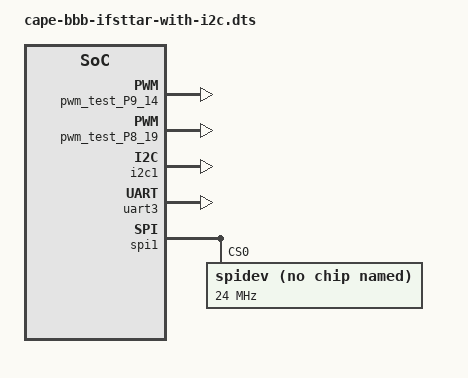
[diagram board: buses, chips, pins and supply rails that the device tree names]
/*  
 * Copyright (C) 2012 Texas Instruments Incorporated - http://www.ti.com/
 *
 * This program is free software; you can redistribute it and/or modify
 * it under the terms of the GNU General Purpose License Version 2 as
 * published by the Free Software Foundation
 *
 * Original from: github.com/jadonk/validation-scripts/blob/master/test-capemgr/ 
 *
 * Modified by FSCOM for IFSTTAR ITS project
 */

/dts-v1/;
/plugin/; /* Allow undefined label references and record them */

/{
    /* Compatible with both the original and the beaglebone black */    
    compatible = "ti,beaglebone", "ti,beaglebone-black";

    /* Identification of the cape */
    part-number = "cape-bbb-ifsttar";
    version = "00A0";

    /* State the resources this cape uses */
    exclusive-use =
        /* RTC MFP output */
        "P8.7",              /* MFP */
        /* Temp. Sensor alert */
        "P8.8",              /* TEMP_ALERT_INT */
        /* Gyro int. outputs */
        "P8.9",              /* GYRO_INT1 */
        "P8.10",             /* GYRO_INT2 */
        /* GPS outputs */
        "P8.11",             /* GPS_OUTPUT */
        /* The pin headers used for LEDs */
        "P8.12",             /* Green led */
        "P8.13",             /* Red led */
        /* Acc. int. outputs */
        "P8.14",             /* ADXL345_INT1 */
        "P8.15",             /* ADXL345_INT2 */
        /* LCD */
        "P8.16",             /* LCD_EN */
        "P8.17",             /* LCD_RW */
        "P8.18",             /* LCD_RS */
        /* The pin headers used for I2C#1 mapped into /dev/i2c2 - See /sys/bus/i2c/devices/i2c-* and check with physical address */
        "P9.19",             /* i2c1_scl */
        "P9.10",             /* i2c1_sda */
        "i2c1",              /* the hardware ip uses */
        /* The pin headers used for SPI Chip Select */
        "P9.17",             /* cs_can */
        "P9.18",             /* cs_adc */
        /* The pin headers used for UART2 */
        "P9.21",             /* uart2_txd */
        "P9.22",             /* uart2_rxd */
        "uart2",             /* the hardware ip uses */
        /* The pin header uses for PWM#1A */
        "P9.14",            /* pwm: ehrpwm1A */
        "ehrpwm1A",         /* the hardware IP uses */
        /* The pin header uses for PWM#2A */
        "P8.19",            /* pwm: ehrpwm2A */
        "ehrpwm2A",         /* the hardware IP uses */
        /* The pin headers used for SPI */
        "P9.29",            /* spi1_miso */
        "P9.30",            /* spi1_mosi */
        "P9.31",            /* spi1_sck */
        "spi1";             /* the hardware ip uses */
                    
    fragment@0 {
        target = <&am33xx_pinmux>;    
        __overlay__ {
            bbb_gpios_pins: pinmux_bbb_gpios_pins {
            pinctrl-single,pins = <
                    0x090 0x0F  /* P8_7  36 66 INPUT - NO PULL UP/DOWN - MODE7 - The RTC MFP */
                    0x094 0x0F  /* P8_8  37 67 INPUT - NO PULL UP/DOWN - MODE7 - The TEMP_ALERT */
                    0x09C 0x0F  /* P8_9  39 69 INPUT - NO PULL UP/DOWN - MODE7 - The GYRO_INT1 */
                    0x098 0x0F  /* P8_10 30 68 INPUT - NO PULL UP/DOWN - MODE7 - The GYRO_INT2 */
                    0x034 0x0F  /* P8_11 13 45 INPUT - NO PULL UP/DOWN - MODE7 - The GPS_OUTPUT */
                    0x030 0x0F  /* P8_12 12 44 OUTPUT - NO PULL UP/DOWN - MODE7 - The green led */
                    0x024 0x0F  /* P8_13 09 23 OUTPUT - NO PULL UP/DOWN - MODE7 - The green led */
                    0x028 0x07  /* P8_14 10 16 INPUT - PULL UP - MODE7 - The ADXL345_INT1 */
                    0x03C 0x07  /* P8_15 15 47 INPUT - PULL UP - MODE7 - The ADXL345_INT2 */
                    0x15C 0x07  /* P9_17 87 05 OUTPUT - PULL UP - MODE7 - The cs_can */
                    0x158 0x07  /* P9_18 86 04 OUTPUT - PULL UP - MODE7 - The cs_adc */
                >;
            };
        };
    };
    fragment@1 {
        target = <&ocp>;
        __overlay__ {
            compatible = "bone-pinmux-helper";
            pinctrl-names = "default";
            pinctrl-0 = <&bbb_gpios_pins>;  /* Refer to fragment#0/pinctrl_leds overlay */
            status = "okay";
        };
    };
    /* The pin headers used for I2C#1 - Mapped to /dev/i2c2 */
    fragment@2 {
        target = <&am33xx_pinmux>;
        __overlay__{
            bbb_i2c1_pins: pinmux_bbb_i2c1_pins {
                pinctrl-single,pins = <
                    0x17c 0x73  /* P9_19 95 13 SLOW - INPUT - PULL UP/DOWN - MODE3 - I2C2_SCL */
                    0x178 0x73  /* P9_20 94 12 SLOW - INPUT - PULL UP/DOWN - MODE3 - I2C2_SDA */
                >;
            };
        };
    };
    fragment@3 {
        target = <&i2c1>;
        __overlay__{
            status = "okay";
            pinctrl-names = "default";
            pinctrl-0 = <&bbb_i2c1_pins>;
        };
    };
    /* The pin headers used for UART2 */
    fragment@4 {
        target = <&am33xx_pinmux>;
        __overlay__ {
                bbb_uart2_pins: pinmux_bbb_uart2_pins {
                pinctrl-single,pins = <
                    0x150 0x21  /* P9_22 84 02 INPUT - PULL UP - MODE1 - UART2_RX */
                    0x154 0x01  /* P9_21 85 03 OUTPUT - PULL UP - MODE1 - UART2_TX */
                >;
            };
        };
    };
    fragment@5 {
        target = <&uart3>; /* Warning: this is uart2+1 */
        __overlay__{
            status = "okay";
            pinctrl-names = "default";
            pinctrl-0 = <&bbb_uart2_pins>;
        };
    };
    /* The pin header uses for PWM#1A */
    fragment@6 {
        target = <&am33xx_pinmux>;
        __overlay__ {
            bbb_pwm1a_pins: pinmux_bbb_pwm1a_pins {
                pinctrl-single,pins = <
                    0x048 0x06 /* P9_14 18 50 OUTPUT - NO PULL UP/DOWN - MODE6 */
                >;
            };
        };
    };
    fragment@7 {
        target = <&ocp>;
        __overlay__ {
            pwm_test_P9_14 {
                compatible = "pwm_test";
                pwm-names = "PWM_P9_14";
                pwms = <&ehrpwm1 0 500000 1>;
                status = "okay";
                pinctrl-names = "default";
                pinctrl-0 = <&bbb_pwm1a_pins>;
                enabled = <0x0>;
		duty = <0x0>;
            };
        };
    };
    /* The pin header uses for PWM#2A */
    fragment@8 {
        target = <&am33xx_pinmux>;
        __overlay__ {
            bbb_pwm2a_pins: pinmux_bbb_pwm2a_pins {
                pinctrl-single,pins = <
                    0x020 0x04 /* P8_19 8 22 OUTPUT - NO PULL UP/DOWN - MODE4 */
                >;
            };
        };
    };
    fragment@9 {
        target = <&ocp>;
        __overlay__ {
            pwm_test_P8_19 {
                compatible = "pwm_test";
                pwm-names = "PWM_P8_19";
                pwms = <&ehrpwm2 0 10000 1>;
                status = "okay";
                pinctrl-names = "default";
                pinctrl-0 = <&bbb_pwm2a_pins>;
                enabled = <0x0>;
		duty = <0x0>;
            };
        };
    };
    /* The pin headers used for SPI */
    fragment@10 {
        target = <&am33xx_pinmux>;
        __overlay__ {
            bbb_spi1_0_pins: pinmux_bbb_spi1_0_pins {
                pinctrl-single,pins = <
                    0x194 0x33 /* P9_29 51 INPUT - PULL UP - MODE3 */
                    0x198 0x13 /* P9_30 51 OUTPUT - PULL UP - MODE3 */
                    0x190 0x33 /* P9_31 51 INPUT - PULL UP - MODE3 */
                >;
            };
        };
   };
   fragment@11 {
       target = <&spi1>;
       __overlay__ {
           #address-cells = <1>;
           #size-cells = <0>;
           status = "okay";
           pinctrl-names = "default";
           pinctrl-0 = <&bbb_spi1_0_pins>;
           spidev@1 {
               spi-max-frequency = <24000000>;
               reg = <0>;
               compatible = "linux,spidev";
           };
       };
   };
}; /* End of file */
